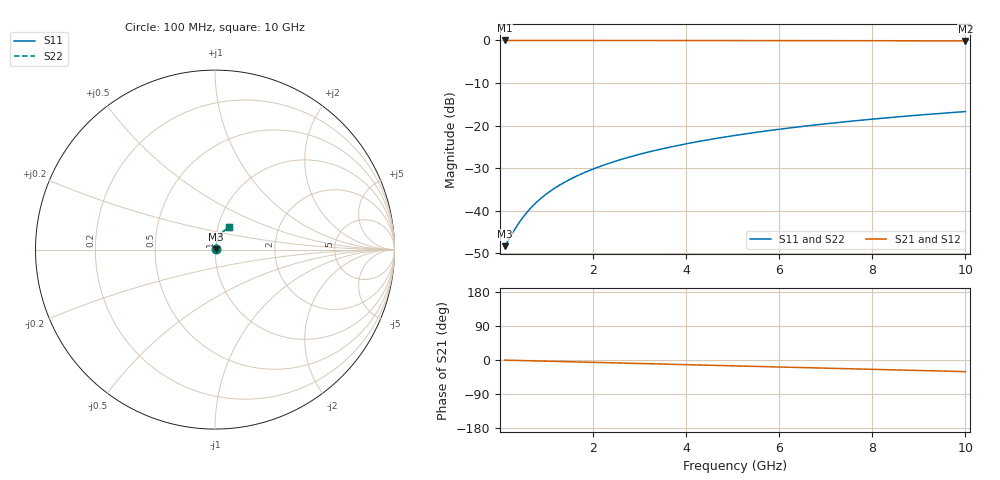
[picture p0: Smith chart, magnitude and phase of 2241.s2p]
# Hz S RI R 50.00
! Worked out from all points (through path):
!   100 points, 100 MHz to 10 GHz, reference 50 ohm
!   highest |S21| = -0.03 dB at 100 MHz (marker M1); lowest = -0.1 dB at 10 GHz (marker M2)
!   group delay of S21, straight-line fit = 8.54 ps
!   lowest |S11| = -48.3 dB at 100 MHz (marker M3), VSWR 1.01, Z = 50.4 + j0.153 ohm
!   |S11| at or under -10 dB: start of sweep to end of sweep
!   |S22| runs from -48.3 to -16.7 dB; largest |S21 - S12| = 0
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1e8  0.00352 0.00152  0.9965 -0.00535  0.9965 -0.00535  0.00352 0.00152
3e8  0.00363 0.00454  0.9963 -0.0161  0.9963 -0.0161  0.00363 0.00454
4e8  0.00369 0.00606  0.9962 -0.0214  0.9962 -0.0214  0.00369 0.00606
5e8  0.00378 0.00757  0.996 -0.0267  0.996 -0.0267  0.00378 0.00757
6e8  0.00388 0.00908  0.9958 -0.0321  0.9958 -0.0321  0.00388 0.00908
7e8  0.00399 0.0106  0.9956 -0.0374  0.9956 -0.0374  0.00399 0.0106
8e8  0.00412 0.0121  0.9954 -0.0428  0.9954 -0.0428  0.00412 0.0121
1e9  0.00443 0.0151  0.9948 -0.0535  0.9948 -0.0535  0.00443 0.0151
1.2e9  0.00479 0.0181  0.9941 -0.0642  0.9941 -0.0642  0.00479 0.0181
1.5e9  0.00547 0.0226  0.9928 -0.0802  0.9928 -0.0802  0.00547 0.0226
1.8e9  0.00628 0.0271  0.9913 -0.0961  0.9913 -0.0961  0.00628 0.0271
2.1e9  0.00724 0.0315  0.9894 -0.1121  0.9894 -0.1121  0.00724 0.0315
2.5e9  0.00874 0.0374  0.9866 -0.1333  0.9866 -0.1333  0.00874 0.0374
2.9e9  0.0105 0.0432  0.9832 -0.1544  0.9832 -0.1544  0.0105 0.0432
3.4e9  0.013 0.0503  0.9783 -0.1807  0.9783 -0.1807  0.013 0.0503
4.2e9  0.0178 0.0614  0.9689 -0.2224  0.9689 -0.2224  0.0178 0.0614
5.1e9  0.0244 0.0733  0.9561 -0.2687  0.9561 -0.2687  0.0244 0.0733
5.9e9  0.0312 0.0833  0.9427 -0.3092  0.9427 -0.3092  0.0312 0.0833
6.7e9  0.0387 0.0927  0.9276 -0.3489  0.9276 -0.3489  0.0387 0.0927
7.5e9  0.0471 0.1014  0.9106 -0.3879  0.9106 -0.3879  0.0471 0.1014
8.4e9  0.0574 0.1102  0.8895 -0.4307  0.8895 -0.4307  0.0574 0.1102
1e10  0.0775 0.1235  0.8469 -0.5036  0.8469 -0.5036  0.0775 0.1235
